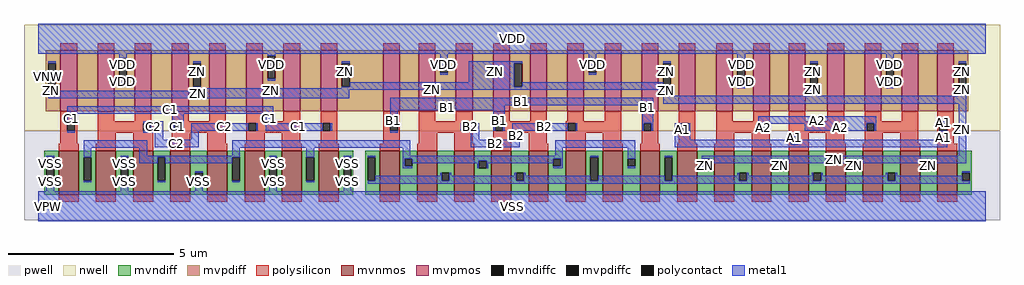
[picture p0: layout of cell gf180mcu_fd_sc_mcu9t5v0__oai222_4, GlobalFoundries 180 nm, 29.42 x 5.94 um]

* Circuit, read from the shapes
.subckt gf180mcu_fd_sc_mcu9t5v0__oai222_4 A1 A2 B1 B2 C1 C2 ZN VDD VNW VPW VSS
XM1 n1 C1 VSS VPW nfet_06v0 w=1.32u l=0.6u m=4
XM2 VSS C2 n1 VPW nfet_06v0 w=1.32u l=0.6u m=4
XM3 n1 B1 n2 VPW nfet_06v0 w=1.32u l=0.6u m=4
XM4 n2 B2 n1 VPW nfet_06v0 w=1.32u l=0.6u m=4
XM5 ZN A1 n2 VPW nfet_06v0 w=1.32u l=0.6u m=4
XM6 n2 A2 ZN VPW nfet_06v0 w=1.32u l=0.6u m=4
XM7 n3 C1 ZN VNW pfet_06v0 w=1.83u l=0.5u
XM8 VDD C2 n3 VNW pfet_06v0 w=1.83u l=0.5u
XM9 n4 C2 VDD VNW pfet_06v0 w=1.83u l=0.5u
XM10 ZN C1 n4 VNW pfet_06v0 w=1.83u l=0.5u
XM11 n5 C1 ZN VNW pfet_06v0 w=1.83u l=0.5u
XM12 VDD C2 n5 VNW pfet_06v0 w=1.83u l=0.5u
XM13 n6 C2 VDD VNW pfet_06v0 w=1.83u l=0.5u
XM14 ZN C1 n6 VNW pfet_06v0 w=1.83u l=0.5u
XM15 n7 B1 ZN VNW pfet_06v0 w=1.83u l=0.5u
XM16 VDD B2 n7 VNW pfet_06v0 w=1.83u l=0.5u
XM17 n8 B2 VDD VNW pfet_06v0 w=1.83u l=0.5u
XM18 ZN B1 n8 VNW pfet_06v0 w=1.83u l=0.5u
XM19 n9 B1 ZN VNW pfet_06v0 w=1.83u l=0.5u
XM20 VDD B2 n9 VNW pfet_06v0 w=1.83u l=0.5u
XM21 n10 B2 VDD VNW pfet_06v0 w=1.83u l=0.5u
XM22 ZN B1 n10 VNW pfet_06v0 w=1.83u l=0.5u
XM23 n11 A1 ZN VNW pfet_06v0 w=1.83u l=0.5u
XM24 VDD A2 n11 VNW pfet_06v0 w=1.83u l=0.5u
XM25 n12 A2 VDD VNW pfet_06v0 w=1.83u l=0.5u
XM26 ZN A1 n12 VNW pfet_06v0 w=1.83u l=0.5u
XM27 n13 A1 ZN VNW pfet_06v0 w=1.83u l=0.5u
XM28 VDD A2 n13 VNW pfet_06v0 w=1.83u l=0.5u
XM29 n14 A2 VDD VNW pfet_06v0 w=1.83u l=0.5u
XM30 ZN A1 n14 VNW pfet_06v0 w=1.83u l=0.5u
.ends

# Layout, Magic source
magic
tech gf180mcuD
magscale 1 10
<< nwell >>
rect -86 453 5798 1094
<< pwell >>
rect -86 -86 5798 453
<< mvnmos >>
rect 124 69 244 333
rect 348 69 468 333
rect 572 69 692 333
rect 796 69 916 333
rect 1020 69 1140 333
rect 1244 69 1364 333
rect 1468 69 1588 333
rect 1692 69 1812 333
rect 2060 69 2180 333
rect 2284 69 2404 333
rect 2508 69 2628 333
rect 2732 69 2852 333
rect 2956 69 3076 333
rect 3180 69 3300 333
rect 3404 69 3524 333
rect 3628 69 3748 333
rect 3852 69 3972 333
rect 4076 69 4196 333
rect 4300 69 4420 333
rect 4524 69 4644 333
rect 4748 69 4868 333
rect 4972 69 5092 333
rect 5196 69 5316 333
rect 5420 69 5540 333
<< mvpmos >>
rect 134 573 234 939
rect 358 573 458 939
rect 582 573 682 939
rect 806 573 906 939
rect 1030 573 1130 939
rect 1254 573 1354 939
rect 1478 573 1578 939
rect 1702 573 1802 939
rect 2080 573 2180 939
rect 2294 573 2394 939
rect 2518 573 2618 939
rect 2742 573 2842 939
rect 2966 573 3066 939
rect 3190 573 3290 939
rect 3414 573 3514 939
rect 3638 573 3738 939
rect 3862 573 3962 939
rect 4086 573 4186 939
rect 4310 573 4410 939
rect 4524 573 4624 939
rect 4758 573 4858 939
rect 4982 573 5082 939
rect 5206 573 5306 939
rect 5420 573 5520 939
<< mvndiff >>
rect 36 294 124 333
rect 36 154 49 294
rect 95 154 124 294
rect 36 69 124 154
rect 244 294 348 333
rect 244 154 273 294
rect 319 154 348 294
rect 244 69 348 154
rect 468 294 572 333
rect 468 154 497 294
rect 543 154 572 294
rect 468 69 572 154
rect 692 294 796 333
rect 692 154 721 294
rect 767 154 796 294
rect 692 69 796 154
rect 916 200 1020 333
rect 916 154 945 200
rect 991 154 1020 200
rect 916 69 1020 154
rect 1140 294 1244 333
rect 1140 154 1169 294
rect 1215 154 1244 294
rect 1140 69 1244 154
rect 1364 294 1468 333
rect 1364 154 1393 294
rect 1439 154 1468 294
rect 1364 69 1468 154
rect 1588 294 1692 333
rect 1588 154 1617 294
rect 1663 154 1692 294
rect 1588 69 1692 154
rect 1812 294 1900 333
rect 1812 154 1841 294
rect 1887 154 1900 294
rect 1812 69 1900 154
rect 1972 294 2060 333
rect 1972 154 1985 294
rect 2031 154 2060 294
rect 1972 69 2060 154
rect 2180 285 2284 333
rect 2180 239 2209 285
rect 2255 239 2284 285
rect 2180 69 2284 239
rect 2404 200 2508 333
rect 2404 154 2433 200
rect 2479 154 2508 200
rect 2404 69 2508 154
rect 2628 274 2732 333
rect 2628 228 2657 274
rect 2703 228 2732 274
rect 2628 69 2732 228
rect 2852 200 2956 333
rect 2852 154 2881 200
rect 2927 154 2956 200
rect 2852 69 2956 154
rect 3076 285 3180 333
rect 3076 239 3105 285
rect 3151 239 3180 285
rect 3076 69 3180 239
rect 3300 294 3404 333
rect 3300 154 3329 294
rect 3375 154 3404 294
rect 3300 69 3404 154
rect 3524 285 3628 333
rect 3524 239 3553 285
rect 3599 239 3628 285
rect 3524 69 3628 239
rect 3748 294 3852 333
rect 3748 154 3777 294
rect 3823 154 3852 294
rect 3748 69 3852 154
rect 3972 285 4076 333
rect 3972 239 4001 285
rect 4047 239 4076 285
rect 3972 69 4076 239
rect 4196 200 4300 333
rect 4196 154 4225 200
rect 4271 154 4300 200
rect 4196 69 4300 154
rect 4420 274 4524 333
rect 4420 228 4449 274
rect 4495 228 4524 274
rect 4420 69 4524 228
rect 4644 200 4748 333
rect 4644 154 4673 200
rect 4719 154 4748 200
rect 4644 69 4748 154
rect 4868 274 4972 333
rect 4868 228 4897 274
rect 4943 228 4972 274
rect 4868 69 4972 228
rect 5092 200 5196 333
rect 5092 154 5121 200
rect 5167 154 5196 200
rect 5092 69 5196 154
rect 5316 274 5420 333
rect 5316 228 5345 274
rect 5391 228 5420 274
rect 5316 69 5420 228
rect 5540 200 5628 333
rect 5540 154 5569 200
rect 5615 154 5628 200
rect 5540 69 5628 154
<< mvpdiff >>
rect 46 861 134 939
rect 46 721 59 861
rect 105 721 134 861
rect 46 573 134 721
rect 234 573 358 939
rect 458 892 582 939
rect 458 752 487 892
rect 533 752 582 892
rect 458 573 582 752
rect 682 573 806 939
rect 906 861 1030 939
rect 906 721 935 861
rect 981 721 1030 861
rect 906 573 1030 721
rect 1130 573 1254 939
rect 1354 907 1478 939
rect 1354 767 1383 907
rect 1429 767 1478 907
rect 1354 573 1478 767
rect 1578 573 1702 939
rect 1802 861 2080 939
rect 1802 721 1831 861
rect 1877 721 2080 861
rect 1802 573 2080 721
rect 2180 573 2294 939
rect 2394 849 2518 939
rect 2394 803 2423 849
rect 2469 803 2518 849
rect 2394 573 2518 803
rect 2618 573 2742 939
rect 2842 861 2966 939
rect 2842 721 2871 861
rect 2917 721 2966 861
rect 2842 573 2966 721
rect 3066 573 3190 939
rect 3290 849 3414 939
rect 3290 803 3319 849
rect 3365 803 3414 849
rect 3290 573 3414 803
rect 3514 573 3638 939
rect 3738 861 3862 939
rect 3738 721 3767 861
rect 3813 721 3862 861
rect 3738 573 3862 721
rect 3962 573 4086 939
rect 4186 861 4310 939
rect 4186 721 4215 861
rect 4261 721 4310 861
rect 4186 573 4310 721
rect 4410 573 4524 939
rect 4624 861 4758 939
rect 4624 721 4653 861
rect 4699 721 4758 861
rect 4624 573 4758 721
rect 4858 573 4982 939
rect 5082 861 5206 939
rect 5082 721 5111 861
rect 5157 721 5206 861
rect 5082 573 5206 721
rect 5306 573 5420 939
rect 5520 861 5608 939
rect 5520 721 5549 861
rect 5595 721 5608 861
rect 5520 573 5608 721
<< mvndiffc >>
rect 49 154 95 294
rect 273 154 319 294
rect 497 154 543 294
rect 721 154 767 294
rect 945 154 991 200
rect 1169 154 1215 294
rect 1393 154 1439 294
rect 1617 154 1663 294
rect 1841 154 1887 294
rect 1985 154 2031 294
rect 2209 239 2255 285
rect 2433 154 2479 200
rect 2657 228 2703 274
rect 2881 154 2927 200
rect 3105 239 3151 285
rect 3329 154 3375 294
rect 3553 239 3599 285
rect 3777 154 3823 294
rect 4001 239 4047 285
rect 4225 154 4271 200
rect 4449 228 4495 274
rect 4673 154 4719 200
rect 4897 228 4943 274
rect 5121 154 5167 200
rect 5345 228 5391 274
rect 5569 154 5615 200
<< mvpdiffc >>
rect 59 721 105 861
rect 487 752 533 892
rect 935 721 981 861
rect 1383 767 1429 907
rect 1831 721 1877 861
rect 2423 803 2469 849
rect 2871 721 2917 861
rect 3319 803 3365 849
rect 3767 721 3813 861
rect 4215 721 4261 861
rect 4653 721 4699 861
rect 5111 721 5157 861
rect 5549 721 5595 861
<< polysilicon >>
rect 134 939 234 983
rect 358 939 458 983
rect 582 939 682 983
rect 806 939 906 983
rect 1030 939 1130 983
rect 1254 939 1354 983
rect 1478 939 1578 983
rect 1702 939 1802 983
rect 2080 939 2180 983
rect 2294 939 2394 983
rect 2518 939 2618 983
rect 2742 939 2842 983
rect 2966 939 3066 983
rect 3190 939 3290 983
rect 3414 939 3514 983
rect 3638 939 3738 983
rect 3862 939 3962 983
rect 4086 939 4186 983
rect 4310 939 4410 983
rect 4524 939 4624 983
rect 4758 939 4858 983
rect 4982 939 5082 983
rect 5206 939 5306 983
rect 5420 939 5520 983
rect 134 500 234 573
rect 134 454 175 500
rect 221 454 234 500
rect 134 377 234 454
rect 358 513 458 573
rect 582 513 682 573
rect 806 513 906 573
rect 1030 513 1130 573
rect 358 500 692 513
rect 358 454 633 500
rect 679 454 692 500
rect 358 441 692 454
rect 358 377 468 441
rect 124 333 244 377
rect 348 333 468 377
rect 572 333 692 441
rect 806 500 1130 513
rect 806 454 819 500
rect 865 454 1130 500
rect 806 441 1130 454
rect 806 377 916 441
rect 796 333 916 377
rect 1020 377 1130 441
rect 1254 513 1354 573
rect 1478 513 1578 573
rect 1254 500 1578 513
rect 1254 454 1267 500
rect 1313 454 1578 500
rect 1254 441 1578 454
rect 1254 377 1364 441
rect 1020 333 1140 377
rect 1244 333 1364 377
rect 1468 377 1578 441
rect 1702 500 1802 573
rect 1702 454 1715 500
rect 1761 454 1802 500
rect 1702 377 1802 454
rect 2080 500 2180 573
rect 2080 454 2121 500
rect 2167 454 2180 500
rect 2080 377 2180 454
rect 2294 513 2394 573
rect 2518 513 2618 573
rect 2294 500 2618 513
rect 2294 454 2559 500
rect 2605 454 2618 500
rect 2294 441 2618 454
rect 2294 377 2404 441
rect 1468 333 1588 377
rect 1692 333 1812 377
rect 2060 333 2180 377
rect 2284 333 2404 377
rect 2508 377 2618 441
rect 2742 513 2842 573
rect 2966 513 3066 573
rect 3190 513 3290 573
rect 3414 513 3514 573
rect 2742 500 3066 513
rect 2742 454 2755 500
rect 2801 454 3066 500
rect 2742 441 3066 454
rect 2742 377 2852 441
rect 2508 333 2628 377
rect 2732 333 2852 377
rect 2956 377 3066 441
rect 3180 500 3514 513
rect 3180 454 3193 500
rect 3239 454 3514 500
rect 3180 441 3514 454
rect 2956 333 3076 377
rect 3180 333 3300 441
rect 3404 377 3514 441
rect 3638 500 3738 573
rect 3638 454 3651 500
rect 3697 454 3738 500
rect 3638 377 3738 454
rect 3862 500 3962 573
rect 3862 454 3875 500
rect 3921 454 3962 500
rect 3862 377 3962 454
rect 4086 513 4186 573
rect 4310 513 4410 573
rect 4086 500 4410 513
rect 4086 454 4351 500
rect 4397 454 4410 500
rect 4086 441 4410 454
rect 4086 377 4196 441
rect 3404 333 3524 377
rect 3628 333 3748 377
rect 3852 333 3972 377
rect 4076 333 4196 377
rect 4300 377 4410 441
rect 4524 513 4624 573
rect 4758 513 4858 573
rect 4524 441 4858 513
rect 4524 418 4644 441
rect 4300 333 4420 377
rect 4524 372 4537 418
rect 4583 372 4644 418
rect 4524 333 4644 372
rect 4748 377 4858 441
rect 4982 513 5082 573
rect 5206 513 5306 573
rect 4982 500 5306 513
rect 4982 454 4995 500
rect 5041 454 5306 500
rect 4982 441 5306 454
rect 4982 377 5092 441
rect 4748 333 4868 377
rect 4972 333 5092 377
rect 5196 377 5306 441
rect 5420 500 5520 573
rect 5420 454 5433 500
rect 5479 454 5520 500
rect 5420 377 5520 454
rect 5196 333 5316 377
rect 5420 333 5540 377
rect 124 25 244 69
rect 348 25 468 69
rect 572 25 692 69
rect 796 25 916 69
rect 1020 25 1140 69
rect 1244 25 1364 69
rect 1468 25 1588 69
rect 1692 25 1812 69
rect 2060 25 2180 69
rect 2284 25 2404 69
rect 2508 25 2628 69
rect 2732 25 2852 69
rect 2956 25 3076 69
rect 3180 25 3300 69
rect 3404 25 3524 69
rect 3628 25 3748 69
rect 3852 25 3972 69
rect 4076 25 4196 69
rect 4300 25 4420 69
rect 4524 25 4644 69
rect 4748 25 4868 69
rect 4972 25 5092 69
rect 5196 25 5316 69
rect 5420 25 5540 69
<< polycontact >>
rect 175 454 221 500
rect 633 454 679 500
rect 819 454 865 500
rect 1267 454 1313 500
rect 1715 454 1761 500
rect 2121 454 2167 500
rect 2559 454 2605 500
rect 2755 454 2801 500
rect 3193 454 3239 500
rect 3651 454 3697 500
rect 3875 454 3921 500
rect 4351 454 4397 500
rect 4537 372 4583 418
rect 4995 454 5041 500
rect 5433 454 5479 500
<< metal1 >>
rect 0 918 5712 1098
rect 487 892 533 918
rect 59 861 105 872
rect 1383 907 1429 918
rect 487 741 533 752
rect 935 861 981 872
rect 59 695 105 721
rect 1383 756 1429 767
rect 1831 861 1877 872
rect 935 710 981 721
rect 2423 849 2469 918
rect 2423 792 2469 803
rect 2594 861 2917 872
rect 2594 746 2871 861
rect 1877 721 2871 746
rect 3319 849 3365 918
rect 3319 792 3365 803
rect 3767 861 3813 872
rect 2917 721 3767 746
rect 1831 710 3813 721
rect 4215 861 4261 918
rect 4215 710 4261 721
rect 4653 861 4699 872
rect 935 700 3813 710
rect 935 695 1876 700
rect 59 649 1876 695
rect 3767 664 3813 700
rect 4653 664 4699 721
rect 5111 861 5157 918
rect 5111 710 5157 721
rect 5549 861 5595 872
rect 5549 664 5595 721
rect 2121 608 3708 654
rect 3767 618 5595 664
rect 175 557 1416 603
rect 175 500 221 557
rect 175 443 221 454
rect 633 500 754 511
rect 679 454 754 500
rect 808 500 876 557
rect 1370 500 1416 557
rect 2121 578 2812 608
rect 2121 500 2167 578
rect 2744 500 2812 578
rect 3640 500 3708 608
rect 4340 500 5052 542
rect 808 454 819 500
rect 865 454 876 500
rect 922 454 1267 500
rect 1313 454 1324 500
rect 1370 454 1715 500
rect 1761 454 1772 500
rect 2548 454 2559 500
rect 2605 454 2658 500
rect 2744 454 2755 500
rect 2801 454 2812 500
rect 2858 454 3193 500
rect 3239 454 3250 500
rect 3640 454 3651 500
rect 3697 454 3708 500
rect 3838 454 3875 500
rect 3921 454 3932 500
rect 4340 454 4351 500
rect 4397 496 4995 500
rect 4397 454 4408 496
rect 4622 454 4995 496
rect 5041 454 5052 500
rect 5433 500 5479 511
rect 633 443 754 454
rect 702 400 754 443
rect 922 400 968 454
rect 2121 443 2167 454
rect 273 351 656 397
rect 702 354 968 400
rect 2606 400 2658 454
rect 2858 400 2904 454
rect 49 294 95 305
rect 49 90 95 154
rect 273 294 319 351
rect 610 305 656 351
rect 1169 351 2244 397
rect 2606 354 2904 400
rect 3838 400 3932 454
rect 4537 418 4583 429
rect 1169 305 1215 351
rect 273 143 319 154
rect 497 294 543 305
rect 610 294 1215 305
rect 610 259 721 294
rect 497 90 543 154
rect 767 259 1169 294
rect 721 143 767 154
rect 945 200 991 211
rect 945 90 991 154
rect 1169 143 1215 154
rect 1393 294 1439 305
rect 1393 90 1439 154
rect 1617 294 1663 351
rect 1617 143 1663 154
rect 1841 294 1887 305
rect 1841 90 1887 154
rect 1985 294 2031 305
rect 2198 304 2244 351
rect 3116 351 3599 397
rect 3838 372 4537 400
rect 5433 400 5479 454
rect 4583 372 5479 400
rect 3838 354 5479 372
rect 3116 304 3162 351
rect 2198 285 3162 304
rect 2198 239 2209 285
rect 2255 274 3105 285
rect 2255 258 2657 274
rect 2198 228 2255 239
rect 2646 228 2657 258
rect 2703 258 3105 274
rect 2703 228 2714 258
rect 3151 239 3162 285
rect 3105 228 3162 239
rect 3329 294 3375 305
rect 2422 182 2433 200
rect 2031 154 2433 182
rect 2479 182 2490 200
rect 2870 182 2881 200
rect 2479 154 2881 182
rect 2927 182 2938 200
rect 2927 154 3329 182
rect 3553 285 3599 351
rect 3553 228 3599 239
rect 3777 294 3823 305
rect 5549 303 5595 618
rect 3375 154 3777 182
rect 4001 285 5595 303
rect 4047 274 5595 285
rect 4047 257 4449 274
rect 4001 228 4047 239
rect 4438 228 4449 257
rect 4495 257 4897 274
rect 4495 228 4506 257
rect 4886 228 4897 257
rect 4943 257 5345 274
rect 4943 228 4954 257
rect 5334 228 5345 257
rect 5391 257 5595 274
rect 5391 228 5402 257
rect 5569 200 5615 211
rect 4214 182 4225 200
rect 3823 154 4225 182
rect 4271 182 4282 200
rect 4662 182 4673 200
rect 4271 154 4673 182
rect 4719 182 4730 200
rect 5110 182 5121 200
rect 4719 154 5121 182
rect 5167 182 5178 200
rect 5167 154 5569 182
rect 1985 136 5615 154
rect 0 -90 5712 90
<< labels >>
flabel metal1 s 5433 500 5479 511 0 FreeSans 200 0 0 0 A1
port 1 nsew default input
flabel metal1 s 4340 496 5052 542 0 FreeSans 200 0 0 0 A2
port 2 nsew default input
flabel metal1 s 2121 608 3708 654 0 FreeSans 200 0 0 0 B1
port 3 nsew default input
flabel metal1 s 2858 454 3250 500 0 FreeSans 200 0 0 0 B2
port 4 nsew default input
flabel metal1 s 175 557 1416 603 0 FreeSans 200 0 0 0 C1
port 5 nsew default input
flabel metal1 s 633 500 754 511 0 FreeSans 200 0 0 0 C2
port 6 nsew default input
flabel metal1 s 0 918 5712 1098 0 FreeSans 200 0 0 0 VDD
port 8 nsew power bidirectional abutment
flabel metal1 s 1841 211 1887 305 0 FreeSans 200 0 0 0 VSS
port 11 nsew ground bidirectional abutment
flabel metal1 s 5549 746 5595 872 0 FreeSans 200 0 0 0 ZN
port 7 nsew default output
flabel nwell s 10 734 110 834 0 FreeSans 400 0 0 0 VNW
port 9 nsew power bidirectional
flabel pwell s 10 -50 110 50 0 FreeSans 400 0 0 0 VPW
port 10 nsew ground bidirectional
rlabel metal1 s 5433 429 5479 500 1 A1
port 1 nsew default input
rlabel metal1 s 3838 429 3932 500 1 A1
port 1 nsew default input
rlabel metal1 s 5433 400 5479 429 1 A1
port 1 nsew default input
rlabel metal1 s 4537 400 4583 429 1 A1
port 1 nsew default input
rlabel metal1 s 3838 400 3932 429 1 A1
port 1 nsew default input
rlabel metal1 s 3838 354 5479 400 1 A1
port 1 nsew default input
rlabel metal1 s 4622 454 5052 496 1 A2
port 2 nsew default input
rlabel metal1 s 4340 454 4408 496 1 A2
port 2 nsew default input
rlabel metal1 s 3640 578 3708 608 1 B1
port 3 nsew default input
rlabel metal1 s 2121 578 2812 608 1 B1
port 3 nsew default input
rlabel metal1 s 3640 454 3708 578 1 B1
port 3 nsew default input
rlabel metal1 s 2744 454 2812 578 1 B1
port 3 nsew default input
rlabel metal1 s 2121 454 2167 578 1 B1
port 3 nsew default input
rlabel metal1 s 2121 443 2167 454 1 B1
port 3 nsew default input
rlabel metal1 s 2548 454 2658 500 1 B2
port 4 nsew default input
rlabel metal1 s 2858 400 2904 454 1 B2
port 4 nsew default input
rlabel metal1 s 2606 400 2658 454 1 B2
port 4 nsew default input
rlabel metal1 s 2606 354 2904 400 1 B2
port 4 nsew default input
rlabel metal1 s 1370 500 1416 557 1 C1
port 5 nsew default input
rlabel metal1 s 808 500 876 557 1 C1
port 5 nsew default input
rlabel metal1 s 175 500 221 557 1 C1
port 5 nsew default input
rlabel metal1 s 1370 454 1772 500 1 C1
port 5 nsew default input
rlabel metal1 s 808 454 876 500 1 C1
port 5 nsew default input
rlabel metal1 s 175 454 221 500 1 C1
port 5 nsew default input
rlabel metal1 s 175 443 221 454 1 C1
port 5 nsew default input
rlabel metal1 s 922 454 1324 500 1 C2
port 6 nsew default input
rlabel metal1 s 633 454 754 500 1 C2
port 6 nsew default input
rlabel metal1 s 922 443 968 454 1 C2
port 6 nsew default input
rlabel metal1 s 633 443 754 454 1 C2
port 6 nsew default input
rlabel metal1 s 922 400 968 443 1 C2
port 6 nsew default input
rlabel metal1 s 702 400 754 443 1 C2
port 6 nsew default input
rlabel metal1 s 702 354 968 400 1 C2
port 6 nsew default input
rlabel metal1 s 4653 746 4699 872 1 ZN
port 7 nsew default output
rlabel metal1 s 3767 746 3813 872 1 ZN
port 7 nsew default output
rlabel metal1 s 2594 746 2917 872 1 ZN
port 7 nsew default output
rlabel metal1 s 1831 746 1877 872 1 ZN
port 7 nsew default output
rlabel metal1 s 935 746 981 872 1 ZN
port 7 nsew default output
rlabel metal1 s 59 746 105 872 1 ZN
port 7 nsew default output
rlabel metal1 s 5549 710 5595 746 1 ZN
port 7 nsew default output
rlabel metal1 s 4653 710 4699 746 1 ZN
port 7 nsew default output
rlabel metal1 s 1831 710 3813 746 1 ZN
port 7 nsew default output
rlabel metal1 s 935 710 981 746 1 ZN
port 7 nsew default output
rlabel metal1 s 59 710 105 746 1 ZN
port 7 nsew default output
rlabel metal1 s 5549 700 5595 710 1 ZN
port 7 nsew default output
rlabel metal1 s 4653 700 4699 710 1 ZN
port 7 nsew default output
rlabel metal1 s 935 700 3813 710 1 ZN
port 7 nsew default output
rlabel metal1 s 59 700 105 710 1 ZN
port 7 nsew default output
rlabel metal1 s 5549 695 5595 700 1 ZN
port 7 nsew default output
rlabel metal1 s 4653 695 4699 700 1 ZN
port 7 nsew default output
rlabel metal1 s 3767 695 3813 700 1 ZN
port 7 nsew default output
rlabel metal1 s 935 695 1876 700 1 ZN
port 7 nsew default output
rlabel metal1 s 59 695 105 700 1 ZN
port 7 nsew default output
rlabel metal1 s 5549 664 5595 695 1 ZN
port 7 nsew default output
rlabel metal1 s 4653 664 4699 695 1 ZN
port 7 nsew default output
rlabel metal1 s 3767 664 3813 695 1 ZN
port 7 nsew default output
rlabel metal1 s 59 664 1876 695 1 ZN
port 7 nsew default output
rlabel metal1 s 3767 649 5595 664 1 ZN
port 7 nsew default output
rlabel metal1 s 59 649 1876 664 1 ZN
port 7 nsew default output
rlabel metal1 s 3767 618 5595 649 1 ZN
port 7 nsew default output
rlabel metal1 s 5549 303 5595 618 1 ZN
port 7 nsew default output
rlabel metal1 s 4001 257 5595 303 1 ZN
port 7 nsew default output
rlabel metal1 s 5334 228 5402 257 1 ZN
port 7 nsew default output
rlabel metal1 s 4886 228 4954 257 1 ZN
port 7 nsew default output
rlabel metal1 s 4438 228 4506 257 1 ZN
port 7 nsew default output
rlabel metal1 s 4001 228 4047 257 1 ZN
port 7 nsew default output
rlabel metal1 s 5111 792 5157 918 1 VDD
port 8 nsew power bidirectional abutment
rlabel metal1 s 4215 792 4261 918 1 VDD
port 8 nsew power bidirectional abutment
rlabel metal1 s 3319 792 3365 918 1 VDD
port 8 nsew power bidirectional abutment
rlabel metal1 s 2423 792 2469 918 1 VDD
port 8 nsew power bidirectional abutment
rlabel metal1 s 1383 792 1429 918 1 VDD
port 8 nsew power bidirectional abutment
rlabel metal1 s 487 792 533 918 1 VDD
port 8 nsew power bidirectional abutment
rlabel metal1 s 5111 756 5157 792 1 VDD
port 8 nsew power bidirectional abutment
rlabel metal1 s 4215 756 4261 792 1 VDD
port 8 nsew power bidirectional abutment
rlabel metal1 s 1383 756 1429 792 1 VDD
port 8 nsew power bidirectional abutment
rlabel metal1 s 487 756 533 792 1 VDD
port 8 nsew power bidirectional abutment
rlabel metal1 s 5111 741 5157 756 1 VDD
port 8 nsew power bidirectional abutment
rlabel metal1 s 4215 741 4261 756 1 VDD
port 8 nsew power bidirectional abutment
rlabel metal1 s 487 741 533 756 1 VDD
port 8 nsew power bidirectional abutment
rlabel metal1 s 5111 710 5157 741 1 VDD
port 8 nsew power bidirectional abutment
rlabel metal1 s 4215 710 4261 741 1 VDD
port 8 nsew power bidirectional abutment
rlabel metal1 s 1393 211 1439 305 1 VSS
port 11 nsew ground bidirectional abutment
rlabel metal1 s 497 211 543 305 1 VSS
port 11 nsew ground bidirectional abutment
rlabel metal1 s 49 211 95 305 1 VSS
port 11 nsew ground bidirectional abutment
rlabel metal1 s 1841 90 1887 211 1 VSS
port 11 nsew ground bidirectional abutment
rlabel metal1 s 1393 90 1439 211 1 VSS
port 11 nsew ground bidirectional abutment
rlabel metal1 s 945 90 991 211 1 VSS
port 11 nsew ground bidirectional abutment
rlabel metal1 s 497 90 543 211 1 VSS
port 11 nsew ground bidirectional abutment
rlabel metal1 s 49 90 95 211 1 VSS
port 11 nsew ground bidirectional abutment
rlabel metal1 s 0 -90 5712 90 1 VSS
port 11 nsew ground bidirectional abutment
<< properties >>
string FIXED_BBOX 0 0 5712 1008
string GDS_END 263088
string GDS_FILE $PDKPATH/libs.ref/gf180mcu_fd_sc_mcu9t5v0/gds/gf180mcu_fd_sc_mcu9t5v0.gds
string GDS_START 252244
string LEFclass core
string LEFsite GF018hv5v_green_sc9
string LEFsymmetry X Y
<< end >>
